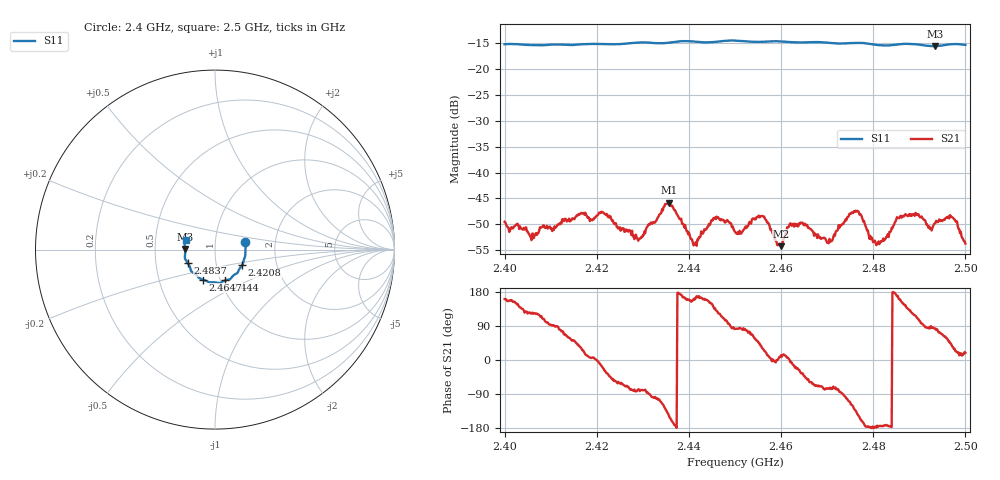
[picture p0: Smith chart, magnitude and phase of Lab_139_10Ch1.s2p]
# Hz S RI R 50
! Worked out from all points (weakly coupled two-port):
!   601 points, 2.4 GHz to 2.5 GHz, reference 50 ohm
!   highest |S21| = -45.80 dB at 2.4357 GHz (marker M1); lowest = -54.2 dB at 2.46 GHz (marker M2)
!   lowest |S11| = -15.6 dB at 2.4935 GHz (marker M3), VSWR 1.40, Z = 35.8 + j0.203 ohm
!   |S11| at or under -10 dB: start of sweep to end of sweep
!   S12 and S22 are empty: the file has one direction only
!   S11 on the Smith chart (normalised r, x): 2.4 GHz: 1.40, +0.12; 2.4208 GHz: 1.33, -0.24; 2.444 GHz: 1.06, -0.37; 2.4647 GHz: 0.83, -0.29; 2.4837 GHz: 0.73, -0.11; 2.5 GHz: 0.72, +0.08
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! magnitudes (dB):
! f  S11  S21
! 2.4 GHz  -15.2  -49.5
! 2.406 GHz  -15.4  -51.8
! 2.4167 GHz  -15.2  -47.8
! 2.4208 GHz  -15.2  -47.8
! 2.4292 GHz  -14.9  -52.8
! 2.4333 GHz  -15.0  -48.6
! 2.4357 GHz  -14.9  -45.8
! 2.4412 GHz  -14.7  -53.9
! 2.444 GHz  -14.9  -50.5
! 2.45 GHz  -14.5  -51.4
! 2.4558 GHz  -14.8  -48.3
! 2.46 GHz  -14.7  -54.2
! 2.4647 GHz  -14.9  -49.7
! 2.4667 GHz  -14.8  -51.1
! 2.4705 GHz  -15.0  -52.8
! 2.4763 GHz  -15.0  -47.5
! 2.4805 GHz  -15.3  -53.5
! 2.4833 GHz  -15.5  -52.4
! 2.4837 GHz  -15.4  -51.5
! 2.4935 GHz  -15.6  -49.7
! 2.4972 GHz  -15.2  -48.6
! 2.5 GHz  -15.4  -53.7
